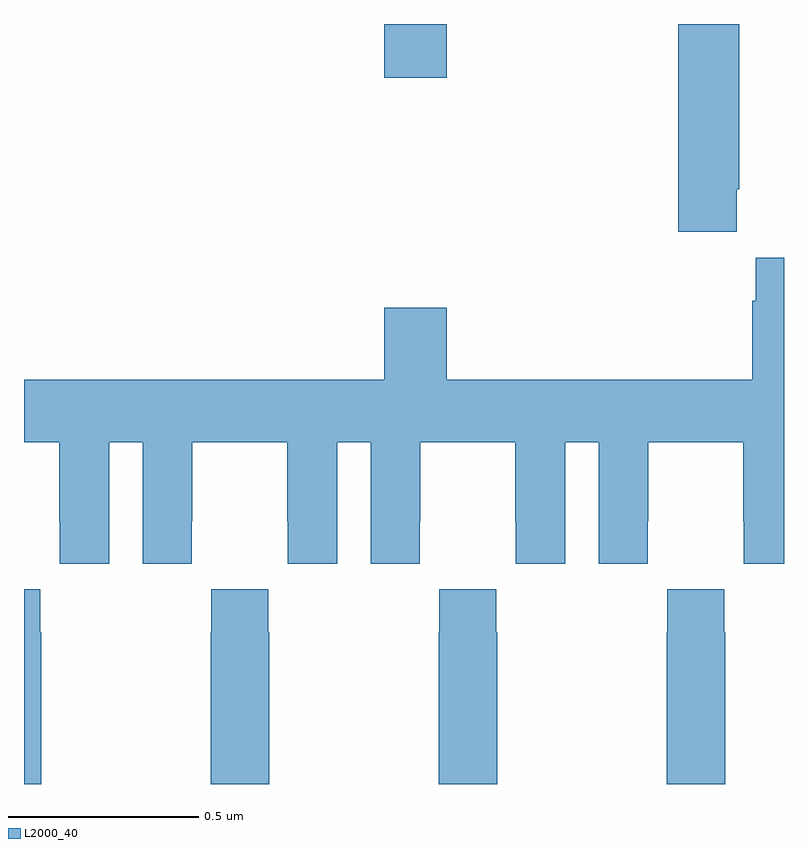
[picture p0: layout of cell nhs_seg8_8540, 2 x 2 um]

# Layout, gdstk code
import gdstk
lib = gdstk.Library(unit=1e-6, precision=1e-09)
def R(c, l, rs):  # rectangles x0, y0, x1, y1
    for r in rs: c.add(gdstk.rectangle(r[:2], r[2:], *l))
def P(c, l, *ps):  # polygons
    for p in ps: c.add(gdstk.Polygon(p, *l))
L2000_40 = (2000, 40)

nhs_seg8_8540 = lib.new_cell('nhs_seg8_8540')
R(nhs_seg8_8540, L2000_40, [(224.948,1150.758,225.112,1150.9)])
P(nhs_seg8_8540, L2000_40, [(225.875,1150.465),(225.882,1150.465),(225.882,1150.9),(225.722,1150.9),(225.722,1150.353),(225.875,1150.353)],
  [(224.224,1149.8),(224.312,1149.8),(224.312,1149.48),(224.442,1149.48),(224.442,1149.592),(224.443,1149.592),(224.443,1149.8),(224.693,1149.8),(224.693,1149.592),(224.694,1149.592),(224.694,1149.48),(224.824,1149.48),(224.824,1149.8),(224.912,1149.8),(224.912,1149.48),(225.042,1149.48),(225.042,1149.592),(225.043,1149.592),(225.043,1149.8),(225.293,1149.8),(225.293,1149.592),(225.294,1149.592),(225.294,1149.48),(225.424,1149.48),(225.424,1149.8),(225.512,1149.8),(225.512,1149.48),(225.642,1149.48),(225.642,1149.592),(225.643,1149.592),(225.643,1149.8),(225.893,1149.8),(225.893,1149.592),(225.894,1149.592),(225.894,1149.48),(226,1149.48),(226,1150.285),(225.926,1150.285),(225.926,1150.172),(225.917,1150.172),(225.917,1149.964),(225.112,1149.964),(225.112,1150.153),(224.948,1150.153),(224.948,1149.964),(224,1149.964),(224,1149.8),(224.093,1149.8),(224.093,1149.592),(224.094,1149.592),(224.094,1149.48),(224.224,1149.48)],
  [(224.646,1149.299),(224.643,1149.299),(224.643,1149.412),(224.493,1149.412),(224.493,1149.299),(224.491,1149.299),(224.491,1148.9),(224.646,1148.9)],
  [(225.246,1149.299),(225.243,1149.299),(225.243,1149.412),(225.093,1149.412),(225.093,1149.299),(225.091,1149.299),(225.091,1148.9),(225.246,1148.9)],
  [(225.846,1149.299),(225.843,1149.299),(225.843,1149.412),(225.693,1149.412),(225.693,1149.299),(225.691,1149.299),(225.691,1148.9),(225.846,1148.9)],
  [(224.046,1149.299),(224.043,1149.299),(224.043,1149.412),(224,1149.412),(224,1148.9),(224.046,1148.9)])

lib.write_gds('nhs_seg8_8540.gds')
